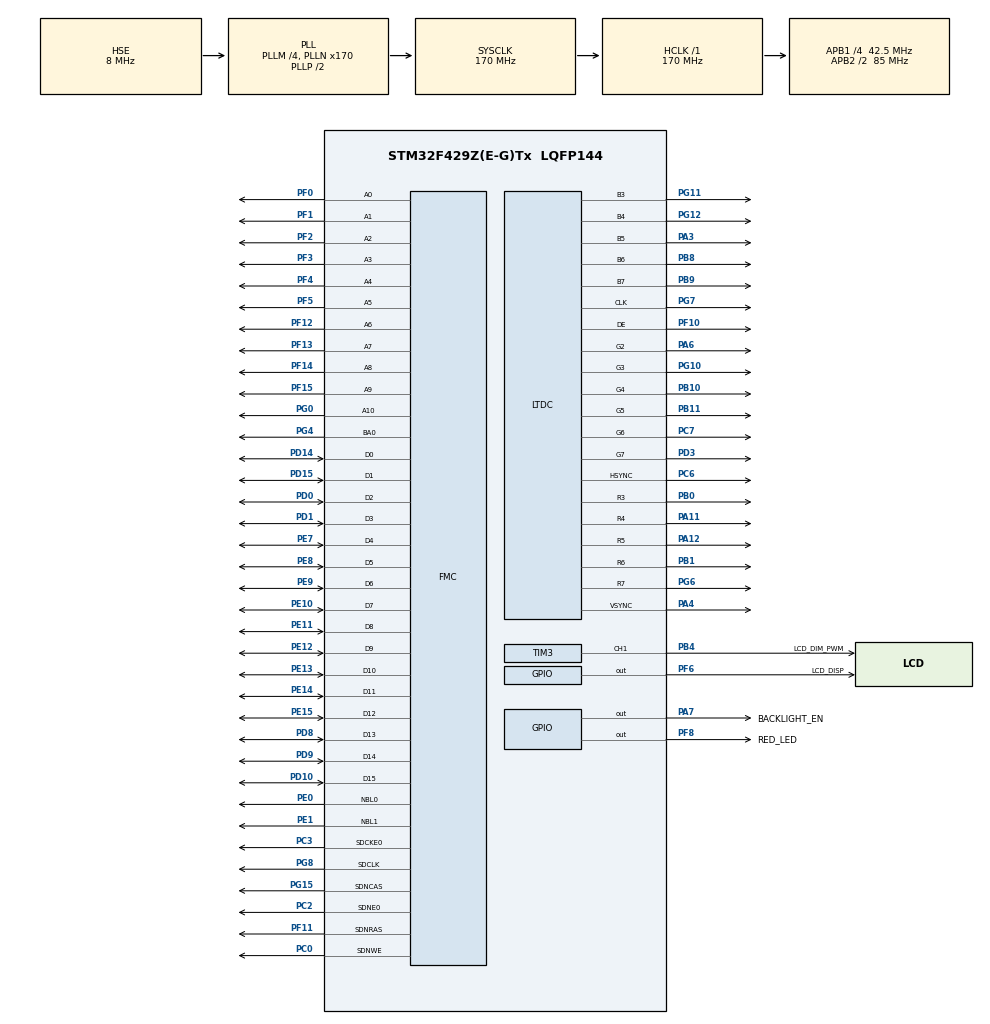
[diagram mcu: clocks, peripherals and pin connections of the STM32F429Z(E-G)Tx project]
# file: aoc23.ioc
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FMC.CASLatency1=FMC_SDRAM_CAS_LATENCY_3
FMC.ExitSelfRefreshDelay1=7
FMC.LoadToActiveDelay1=2
FMC.RCDDelay1=2
FMC.RPDelay1=2
FMC.RPDelay2=2
FMC.ReadBurst1=FMC_SDRAM_RBURST_ENABLE
FMC.ReadBurst2=FMC_SDRAM_RBURST_ENABLE
FMC.ReadPipeDelay1=FMC_SDRAM_RPIPE_DELAY_1
FMC.ReadPipeDelay2=FMC_SDRAM_RPIPE_DELAY_1
FMC.RowCycleDelay1=7
FMC.RowCycleDelay2=7
FMC.SDClockPeriod1=FMC_SDRAM_CLOCK_PERIOD_2
FMC.SDClockPeriod2=FMC_SDRAM_CLOCK_PERIOD_2
FMC.SelfRefreshTime1=4
FMC.WriteRecoveryTime1=3
LTDC.ActiveW=800
LTDC.Alpha_L0=255
LTDC.Alpha_L1=255
LTDC.BlendingFactor1_L1=LTDC_BLENDING_FACTOR1_PAxCA
LTDC.BlendingFactor2_L1=LTDC_BLENDING_FACTOR2_PAxCA
LTDC.FBStartAdress_L0=(uint32_t)BACKGROUND_FRAME_BUF
LTDC.FBStartAdress_L1=(uint32_t)OVERLAY_FRAME_BUF
LTDC.HBP=40
LTDC.HFP=40
LTDC.ImageHeight_L0=DISPLAY_HEIGHT
LTDC.ImageHeight_L1=OVERLAY_HEIGHT
LTDC.ImageWidth_L0=DISPLAY_WIDTH
LTDC.ImageWidth_L1=OVERLAY_WIDTH
LTDC.Layers=1
LTDC.PCPolarity=LTDC_PCPOLARITY_IIPC
LTDC.PixelFormat_L0=LTDC_PIXEL_FORMAT_L8
LTDC.PixelFormat_L1=LTDC_PIXEL_FORMAT_AL44
LTDC.VBP=29
LTDC.VFP=13
LTDC.VSync=3
LTDC.WindowX0_L1=350
LTDC.WindowX1_L0=800
LTDC.WindowX1_L1=750
LTDC.WindowY1_L0=480
LTDC.WindowY1_L1=480
Mcu.Family=STM32F4
Mcu.Name=STM32F429Z(E-G)Tx
Mcu.Package=LQFP144
Mcu.UserConstants=PWM_PERIOD,8499
NVIC.LTDC_IRQn=true\:0\:0\:false\:false\:true\:true\:true\:true
NVIC.PriorityGroup=NVIC_PRIORITYGROUP_4
PA11.Mode=RGB565
PA11.Signal=LTDC_R4
PA12.Mode=RGB565
PA12.Signal=LTDC_R5
PA13.Mode=Trace_Asynchronous_SW
PA13.Signal=SYS_JTMS-SWDIO
PA14.Mode=Trace_Asynchronous_SW
PA14.Signal=SYS_JTCK-SWCLK
PA3.Mode=RGB565
PA3.Signal=LTDC_B5
PA4.Mode=RGB565
PA4.Signal=LTDC_VSYNC
PA6.Mode=RGB565
PA6.Signal=LTDC_G2
PA7.GPIO_Label=BACKLIGHT_EN
PA7.Signal=GPIO_Output
PB0.Mode=RGB565
PB0.Signal=LTDC_R3
PB1.Mode=RGB565
PB1.Signal=LTDC_R6
PB10.Mode=RGB565
PB10.Signal=LTDC_G4
PB11.Mode=RGB565
PB11.Signal=LTDC_G5
PB3.Mode=Trace_Asynchronous_SW
PB3.Signal=SYS_JTDO-SWO
PB4.GPIO_Label=LCD_DIM_PWM
PB4.Signal=S_TIM3_CH1
PB8.Mode=RGB565
PB8.Signal=LTDC_B6
PB9.Mode=RGB565
PB9.Signal=LTDC_B7
PC0.Signal=FMC_SDNWE
PC2.Mode=SdramChipSelect1_1
PC2.Signal=FMC_SDNE0
PC3.Mode=SdramChipSelect1_1
PC3.Signal=FMC_SDCKE0
PC6.Mode=RGB565
PC6.Signal=LTDC_HSYNC
PC7.Mode=RGB565
PC7.Signal=LTDC_G6
PD0.Signal=FMC_D2_DA2
PD1.Signal=FMC_D3_DA3
PD10.Signal=FMC_D15_DA15
PD14.Signal=FMC_D0_DA0
PD15.Signal=FMC_D1_DA1
PD3.Mode=RGB565
PD3.Signal=LTDC_G7
PD8.Signal=FMC_D13_DA13
PD9.Signal=FMC_D14_DA14
PE0.Signal=FMC_NBL0
PE1.Signal=FMC_NBL1
PE10.Signal=FMC_D7_DA7
PE11.Signal=FMC_D8_DA8
PE12.Signal=FMC_D9_DA9
PE13.Signal=FMC_D10_DA10
PE14.Signal=FMC_D11_DA11
PE15.Signal=FMC_D12_DA12
PE7.Signal=FMC_D4_DA4
PE8.Signal=FMC_D5_DA5
PE9.Signal=FMC_D6_DA6
PF0.Signal=FMC_A0
PF1.Signal=FMC_A1
PF10.Mode=RGB565
PF10.Signal=LTDC_DE
PF11.Signal=FMC_SDNRAS
PF12.Signal=FMC_A6
PF13.Signal=FMC_A7
PF14.Signal=FMC_A8
PF15.Signal=FMC_A9
PF2.Signal=FMC_A2
PF3.Signal=FMC_A3
PF4.Signal=FMC_A4
PF5.Signal=FMC_A5
PF6.GPIO_Label=LCD_DISP
PF6.Signal=GPIO_Output
PF8.GPIO_Label=RED_LED
PF8.Signal=GPIO_Output
PG0.Signal=FMC_A10
PG10.Mode=RGB565
PG10.Signal=LTDC_G3
PG11.Mode=RGB565
PG11.Signal=LTDC_B3
PG12.Mode=RGB565
PG12.Signal=LTDC_B4
PG15.Signal=FMC_SDNCAS
PG4.Signal=FMC_A14_BA0
PG6.Mode=RGB565
PG6.Signal=LTDC_R7
PG7.Mode=RGB565
PG7.Signal=LTDC_CLK
PG8.Signal=FMC_SDCLK
PH0/OSC_IN.Mode=HSE-External-Oscillator
PH0/OSC_IN.Signal=RCC_OSC_IN
PH1/OSC_OUT.Mode=HSE-External-Oscillator
PH1/OSC_OUT.Signal=RCC_OSC_OUT
ProjectManager.HeapSize=0x200
ProjectManager.StackSize=0x400
ProjectManager.TargetToolchain=Makefile
RCC.48MHZClocksFreq_Value=85000000
RCC.AHBFreq_Value=170000000
RCC.APB1CLKDivider=RCC_HCLK_DIV4
RCC.APB1Freq_Value=42500000
RCC.APB1TimFreq_Value=85000000
RCC.APB2CLKDivider=RCC_HCLK_DIV2
RCC.APB2Freq_Value=85000000
RCC.APB2TimFreq_Value=170000000
RCC.CortexFreq_Value=170000000
RCC.HCLKFreq_Value=170000000
RCC.HSE_VALUE=8000000
RCC.HSI_VALUE=16000000
RCC.LSE_VALUE=32768
RCC.PLLM=4
RCC.PLLN=170
RCC.PLLSAIN=112
RCC.PLLSAIR=6
RCC.PLLSourceVirtual=RCC_PLLSOURCE_HSE
RCC.SYSCLKFreq_VALUE=170000000
RCC.SYSCLKSource=RCC_SYSCLKSOURCE_PLLCLK
RCC.VCOOutputFreq_Value=340000000
SH.FMC_A0.0=FMC_A0,11b-sda1
SH.FMC_A1.0=FMC_A1,11b-sda1
SH.FMC_A10.0=FMC_A10,11b-sda1
SH.FMC_A14_BA0.0=FMC_BA0,TwoSdramBanks1
SH.FMC_A2.0=FMC_A2,11b-sda1
SH.FMC_A3.0=FMC_A3,11b-sda1
SH.FMC_A4.0=FMC_A4,11b-sda1
SH.FMC_A5.0=FMC_A5,11b-sda1
SH.FMC_A6.0=FMC_A6,11b-sda1
SH.FMC_A7.0=FMC_A7,11b-sda1
SH.FMC_A8.0=FMC_A8,11b-sda1
SH.FMC_A9.0=FMC_A9,11b-sda1
SH.FMC_D0_DA0.0=FMC_D0,sd-16b-d1
SH.FMC_D10_DA10.0=FMC_D10,sd-16b-d1
SH.FMC_D11_DA11.0=FMC_D11,sd-16b-d1
SH.FMC_D12_DA12.0=FMC_D12,sd-16b-d1
SH.FMC_D13_DA13.0=FMC_D13,sd-16b-d1
SH.FMC_D14_DA14.0=FMC_D14,sd-16b-d1
SH.FMC_D15_DA15.0=FMC_D15,sd-16b-d1
SH.FMC_D1_DA1.0=FMC_D1,sd-16b-d1
SH.FMC_D2_DA2.0=FMC_D2,sd-16b-d1
SH.FMC_D3_DA3.0=FMC_D3,sd-16b-d1
SH.FMC_D4_DA4.0=FMC_D4,sd-16b-d1
SH.FMC_D5_DA5.0=FMC_D5,sd-16b-d1
SH.FMC_D6_DA6.0=FMC_D6,sd-16b-d1
SH.FMC_D7_DA7.0=FMC_D7,sd-16b-d1
SH.FMC_D8_DA8.0=FMC_D8,sd-16b-d1
SH.FMC_D9_DA9.0=FMC_D9,sd-16b-d1
SH.FMC_NBL0.0=FMC_NBL0,Sd2ByteEnable1
SH.FMC_NBL1.0=FMC_NBL1,Sd2ByteEnable1
SH.FMC_SDCLK.0=FMC_SDCLK,11b-sda1
SH.FMC_SDNCAS.0=FMC_SDNCAS,11b-sda1
SH.FMC_SDNRAS.0=FMC_SDNRAS,11b-sda1
SH.FMC_SDNWE.0=FMC_SDNWE,11b-sda1
SH.S_TIM3_CH1.0=TIM3_CH1,PWM Generation1 CH1
TIM3.Channel-PWM\ Generation1\ CH1=TIM_CHANNEL_1
TIM3.Period=PWM_PERIOD
VP_TIM3_VS_ClockSourceINT.Mode=Internal
board=custom

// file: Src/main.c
/* USER CODE BEGIN Header */
/**
  ******************************************************************************
  * @file           : main.c
  * @brief          : Main program body
  ******************************************************************************
  * @attention
  *
  * Copyright (c) 2023 STMicroelectronics.
  * All rights reserved.
  *
  * This software is licensed under terms that can be found in the LICENSE file
  * in the root directory of this software component.
  * If no LICENSE file comes with this software, it is provided AS-IS.
  *
  ******************************************************************************
  */
/* USER CODE END Header */
#include "main.h"

/* USER CODE BEGIN Includes */

#include <stdio.h>
#include <string.h>
#include "decompress.h"
#include "gfx.h"
#include "problems/problems.h"

/* USER CODE END Includes */

/* USER CODE BEGIN PM */

#define SDRAM_MODEREG_BURST_LENGTH_1 ((uint16_t)0x0000)
#define SDRAM_MODEREG_BURST_LENGTH_2 ((uint16_t)0x0001)
#define SDRAM_MODEREG_BURST_LENGTH_4 ((uint16_t)0x0002)
#define SDRAM_MODEREG_BURST_LENGTH_8 ((uint16_t)0x0004)
#define SDRAM_MODEREG_BURST_TYPE_SEQUENTIAL ((uint16_t)0x0000)
#define SDRAM_MODEREG_BURST_TYPE_INTERLEAVED ((uint16_t)0x0008)
#define SDRAM_MODEREG_CAS_LATENCY_2 ((uint16_t)0x0020)
#define SDRAM_MODEREG_CAS_LATENCY_3 ((uint16_t)0x0030)
#define SDRAM_MODEREG_OPERATING_MODE_STANDARD ((uint16_t)0x0000)
#define SDRAM_MODEREG_WRITEBURST_MODE_PROGRAMMED ((uint16_t)0x0000)
#define SDRAM_MODEREG_WRITEBURST_MODE_SINGLE ((uint16_t)0x0200)
#define SDRAM_REFRESH_COUNT ((uint32_t)0x0000056a) // 90 MHz

/* USER CODE END PM */

LTDC_HandleTypeDef hltdc;

TIM_HandleTypeDef htim3;

SDRAM_HandleTypeDef hsdram1;

/* USER CODE BEGIN PV */

int vsync_count;

/* USER CODE END PV */

void SystemClock_Config(void);
static void MX_GPIO_Init(void);
static void MX_FMC_Init(void);
static void MX_LTDC_Init(void);
static void MX_TIM3_Init(void);
/* USER CODE BEGIN PFP */

static void Vsync_Callback(LTDC_HandleTypeDef *hltdc);

/* USER CODE END PFP */

int main(void)
{

  /* MCU Configuration--------------------------------------------------------*/

  /* Reset of all peripherals, Initializes the Flash interface and the Systick. */
  HAL_Init();

  /* Configure the system clock */
  SystemClock_Config();

  /* Initialize all configured peripherals */
  MX_GPIO_Init();
  MX_FMC_Init();
  MX_LTDC_Init();
  MX_TIM3_Init();
  /* USER CODE BEGIN 2 */

  // Turn on LCD
  HAL_GPIO_WritePin(LCD_DISP_GPIO_Port, LCD_DISP_Pin, GPIO_PIN_SET);

  memset(OVERLAY_FRAME_BUF, 0, OVERLAY_FRAME_BUF_SIZE);
  decompress("bg.data", BACKGROUND_FRAME_BUF, BACKGROUND_FRAME_BUF_SIZE);
  uint32_t clut[256];
  decompress("bg.clut", clut, sizeof clut);

  HAL_LTDC_ConfigCLUT(&hltdc, (uint32_t *)clut, 256, LTDC_LAYER_1);
  HAL_LTDC_EnableCLUT(&hltdc, LTDC_LAYER_1);

  // Turn on backlight
  #ifdef DEBUG
  const int backlight_percent = 30;
  #else
  const int backlight_percent = 60;
  #endif

  __HAL_TIM_SET_COMPARE(&htim3, TIM_CHANNEL_1, backlight_percent * PWM_PERIOD / 100);
  HAL_TIM_PWM_Start(&htim3, TIM_CHANNEL_1);
  HAL_GPIO_WritePin(BACKLIGHT_EN_GPIO_Port, BACKLIGHT_EN_Pin, GPIO_PIN_SET);

  do_problems();

  /* USER CODE END 2 */

  /* Infinite loop */
  while (1)
  {

  }
}

void SystemClock_Config(void)
{
  RCC_OscInitTypeDef RCC_OscInitStruct = {0};
  RCC_ClkInitTypeDef RCC_ClkInitStruct = {0};

  /** Configure the main internal regulator output voltage
  */
  __HAL_RCC_PWR_CLK_ENABLE();
  __HAL_PWR_VOLTAGESCALING_CONFIG(PWR_REGULATOR_VOLTAGE_SCALE1);

  /** Initializes the RCC Oscillators according to the specified parameters
  * in the RCC_OscInitTypeDef structure.
  */
  RCC_OscInitStruct.OscillatorType = RCC_OSCILLATORTYPE_HSE;
  RCC_OscInitStruct.HSEState = RCC_HSE_ON;
  RCC_OscInitStruct.PLL.PLLState = RCC_PLL_ON;
  RCC_OscInitStruct.PLL.PLLSource = RCC_PLLSOURCE_HSE;
  RCC_OscInitStruct.PLL.PLLM = 4;
  RCC_OscInitStruct.PLL.PLLN = 170;
  RCC_OscInitStruct.PLL.PLLP = RCC_PLLP_DIV2;
  RCC_OscInitStruct.PLL.PLLQ = 4;
  if (HAL_RCC_OscConfig(&RCC_OscInitStruct) != HAL_OK)
  {
    Error_Handler();
  }

  /** Activate the Over-Drive mode
  */
  if (HAL_PWREx_EnableOverDrive() != HAL_OK)
  {
    Error_Handler();
  }

  /** Initializes the CPU, AHB and APB buses clocks
  */
  RCC_ClkInitStruct.ClockType = RCC_CLOCKTYPE_HCLK|RCC_CLOCKTYPE_SYSCLK
                              |RCC_CLOCKTYPE_PCLK1|RCC_CLOCKTYPE_PCLK2;
  RCC_ClkInitStruct.SYSCLKSource = RCC_SYSCLKSOURCE_PLLCLK;
  RCC_ClkInitStruct.AHBCLKDivider = RCC_SYSCLK_DIV1;
  RCC_ClkInitStruct.APB1CLKDivider = RCC_HCLK_DIV4;
  RCC_ClkInitStruct.APB2CLKDivider = RCC_HCLK_DIV2;

  if (HAL_RCC_ClockConfig(&RCC_ClkInitStruct, FLASH_LATENCY_5) != HAL_OK)
  {
    Error_Handler();
  }
}

static void MX_LTDC_Init(void)
{

  LTDC_LayerCfgTypeDef pLayerCfg = {0};
  LTDC_LayerCfgTypeDef pLayerCfg1 = {0};

  hltdc.Instance = LTDC;
  hltdc.Init.HSPolarity = LTDC_HSPOLARITY_AL;
  hltdc.Init.VSPolarity = LTDC_VSPOLARITY_AL;
  hltdc.Init.DEPolarity = LTDC_DEPOLARITY_AL;
  hltdc.Init.PCPolarity = LTDC_PCPOLARITY_IIPC;
  hltdc.Init.HorizontalSync = 7;
  hltdc.Init.VerticalSync = 2;
  hltdc.Init.AccumulatedHBP = 47;
  hltdc.Init.AccumulatedVBP = 31;
  hltdc.Init.AccumulatedActiveW = 847;
  hltdc.Init.AccumulatedActiveH = 511;
  hltdc.Init.TotalWidth = 887;
  hltdc.Init.TotalHeigh = 524;
  hltdc.Init.Backcolor.Blue = 0;
  hltdc.Init.Backcolor.Green = 0;
  hltdc.Init.Backcolor.Red = 0;
  if (HAL_LTDC_Init(&hltdc) != HAL_OK)
  {
    Error_Handler();
  }
  pLayerCfg.WindowX0 = 0;
  pLayerCfg.WindowX1 = 800;
  pLayerCfg.WindowY0 = 0;
  pLayerCfg.WindowY1 = 480;
  pLayerCfg.PixelFormat = LTDC_PIXEL_FORMAT_L8;
  pLayerCfg.Alpha = 255;
  pLayerCfg.Alpha0 = 0;
  pLayerCfg.BlendingFactor1 = LTDC_BLENDING_FACTOR1_CA;
  pLayerCfg.BlendingFactor2 = LTDC_BLENDING_FACTOR2_CA;
  pLayerCfg.FBStartAdress = (uint32_t)BACKGROUND_FRAME_BUF;
  pLayerCfg.ImageWidth = DISPLAY_WIDTH;
  pLayerCfg.ImageHeight = DISPLAY_HEIGHT;
  pLayerCfg.Backcolor.Blue = 0;
  pLayerCfg.Backcolor.Green = 0;
  pLayerCfg.Backcolor.Red = 0;
  if (HAL_LTDC_ConfigLayer(&hltdc, &pLayerCfg, 0) != HAL_OK)
  {
    Error_Handler();
  }
  pLayerCfg1.WindowX0 = 350;
  pLayerCfg1.WindowX1 = 750;
  pLayerCfg1.WindowY0 = 0;
  pLayerCfg1.WindowY1 = 480;
  pLayerCfg1.PixelFormat = LTDC_PIXEL_FORMAT_AL44;
  pLayerCfg1.Alpha = 255;
  pLayerCfg1.Alpha0 = 0;
  pLayerCfg1.BlendingFactor1 = LTDC_BLENDING_FACTOR1_PAxCA;
  pLayerCfg1.BlendingFactor2 = LTDC_BLENDING_FACTOR2_PAxCA;
  pLayerCfg1.FBStartAdress = (uint32_t)OVERLAY_FRAME_BUF;
  pLayerCfg1.ImageWidth = OVERLAY_WIDTH;
  pLayerCfg1.ImageHeight = OVERLAY_HEIGHT;
  pLayerCfg1.Backcolor.Blue = 0;
  pLayerCfg1.Backcolor.Green = 0;
  pLayerCfg1.Backcolor.Red = 0;
  if (HAL_LTDC_ConfigLayer(&hltdc, &pLayerCfg1, 1) != HAL_OK)
  {
    Error_Handler();
  }
  /* USER CODE BEGIN LTDC_Init 2 */

  HAL_LTDC_ProgramLineEvent(&hltdc, 512); // 480 + 29 + 3 for back porch etc
  hltdc.LineEventCallback = Vsync_Callback;

  /* USER CODE END LTDC_Init 2 */

}

static void MX_TIM3_Init(void)
{

  TIM_ClockConfigTypeDef sClockSourceConfig = {0};
  TIM_MasterConfigTypeDef sMasterConfig = {0};
  TIM_OC_InitTypeDef sConfigOC = {0};

  htim3.Instance = TIM3;
  htim3.Init.Prescaler = 0;
  htim3.Init.CounterMode = TIM_COUNTERMODE_UP;
  htim3.Init.Period = PWM_PERIOD;
  htim3.Init.ClockDivision = TIM_CLOCKDIVISION_DIV1;
  htim3.Init.AutoReloadPreload = TIM_AUTORELOAD_PRELOAD_DISABLE;
  if (HAL_TIM_Base_Init(&htim3) != HAL_OK)
  {
    Error_Handler();
  }
  sClockSourceConfig.ClockSource = TIM_CLOCKSOURCE_INTERNAL;
  if (HAL_TIM_ConfigClockSource(&htim3, &sClockSourceConfig) != HAL_OK)
  {
    Error_Handler();
  }
  if (HAL_TIM_PWM_Init(&htim3) != HAL_OK)
  {
    Error_Handler();
  }
  sMasterConfig.MasterOutputTrigger = TIM_TRGO_RESET;
  sMasterConfig.MasterSlaveMode = TIM_MASTERSLAVEMODE_DISABLE;
  if (HAL_TIMEx_MasterConfigSynchronization(&htim3, &sMasterConfig) != HAL_OK)
  {
    Error_Handler();
  }
  sConfigOC.OCMode = TIM_OCMODE_PWM1;
  sConfigOC.Pulse = 0;
  sConfigOC.OCPolarity = TIM_OCPOLARITY_HIGH;
  sConfigOC.OCFastMode = TIM_OCFAST_DISABLE;
  if (HAL_TIM_PWM_ConfigChannel(&htim3, &sConfigOC, TIM_CHANNEL_1) != HAL_OK)
  {
    Error_Handler();
  }
  HAL_TIM_MspPostInit(&htim3);

}

/* FMC initialization function */
static void MX_FMC_Init(void)
{

  FMC_SDRAM_TimingTypeDef SdramTiming = {0};

  /** Perform the SDRAM1 memory initialization sequence
  */
  hsdram1.Instance = FMC_SDRAM_DEVICE;
  /* hsdram1.Init */
  hsdram1.Init.SDBank = FMC_SDRAM_BANK1;
  hsdram1.Init.ColumnBitsNumber = FMC_SDRAM_COLUMN_BITS_NUM_8;
  hsdram1.Init.RowBitsNumber = FMC_SDRAM_ROW_BITS_NUM_11;
  hsdram1.Init.MemoryDataWidth = FMC_SDRAM_MEM_BUS_WIDTH_16;
  hsdram1.Init.InternalBankNumber = FMC_SDRAM_INTERN_BANKS_NUM_2;
  hsdram1.Init.CASLatency = FMC_SDRAM_CAS_LATENCY_3;
  hsdram1.Init.WriteProtection = FMC_SDRAM_WRITE_PROTECTION_DISABLE;
  hsdram1.Init.SDClockPeriod = FMC_SDRAM_CLOCK_PERIOD_2;
  hsdram1.Init.ReadBurst = FMC_SDRAM_RBURST_ENABLE;
  hsdram1.Init.ReadPipeDelay = FMC_SDRAM_RPIPE_DELAY_1;
  /* SdramTiming */
  SdramTiming.LoadToActiveDelay = 2;
  SdramTiming.ExitSelfRefreshDelay = 7;
  SdramTiming.SelfRefreshTime = 4;
  SdramTiming.RowCycleDelay = 7;
  SdramTiming.WriteRecoveryTime = 3;
  SdramTiming.RPDelay = 2;
  SdramTiming.RCDDelay = 2;

  if (HAL_SDRAM_Init(&hsdram1, &SdramTiming) != HAL_OK)
  {
    Error_Handler( );
  }

  /* USER CODE BEGIN FMC_Init 2 */

  FMC_SDRAM_CommandTypeDef cmd_clk_enable = {
    .CommandMode = FMC_SDRAM_CMD_CLK_ENABLE,
    .CommandTarget = FMC_SDRAM_CMD_TARGET_BANK1,
    .AutoRefreshNumber = 1,
    .ModeRegisterDefinition = 0
  };
  FMC_SDRAM_CommandTypeDef cmd_precharge_all = {
    .CommandMode = FMC_SDRAM_CMD_PALL,
    .CommandTarget = FMC_SDRAM_CMD_TARGET_BANK1,
    .AutoRefreshNumber = 1,
    .ModeRegisterDefinition = 0
  };
  FMC_SDRAM_CommandTypeDef cmd_auto_refresh = {
    .CommandMode = FMC_SDRAM_CMD_AUTOREFRESH_MODE,
    .CommandTarget = FMC_SDRAM_CMD_TARGET_BANK1,
    .AutoRefreshNumber = 4,
    .ModeRegisterDefinition = 0
  };
  FMC_SDRAM_CommandTypeDef cmd_mode = {
    .CommandMode = FMC_SDRAM_CMD_LOAD_MODE,
    .CommandTarget = FMC_SDRAM_CMD_TARGET_BANK1,
    .AutoRefreshNumber = 1,
    .ModeRegisterDefinition = SDRAM_MODEREG_BURST_LENGTH_2 |
                              SDRAM_MODEREG_BURST_TYPE_SEQUENTIAL |
                              SDRAM_MODEREG_CAS_LATENCY_3 |
                              SDRAM_MODEREG_OPERATING_MODE_STANDARD |
                              SDRAM_MODEREG_WRITEBURST_MODE_SINGLE
  };

  HAL_SDRAM_SendCommand(&hsdram1, &cmd_clk_enable, 0x1000);
  HAL_Delay(1);
  HAL_SDRAM_SendCommand(&hsdram1, &cmd_precharge_all, 0x1000);
  HAL_SDRAM_SendCommand(&hsdram1, &cmd_auto_refresh, 0x1000);
  HAL_SDRAM_SendCommand(&hsdram1, &cmd_mode, 0x1000);
  HAL_SDRAM_ProgramRefreshRate(&hsdram1, SDRAM_REFRESH_COUNT);

  /* USER CODE END FMC_Init 2 */
}

static void MX_GPIO_Init(void)
{
  GPIO_InitTypeDef GPIO_InitStruct = {0};

  /* GPIO Ports Clock Enable */
  __HAL_RCC_GPIOF_CLK_ENABLE();
  __HAL_RCC_GPIOH_CLK_ENABLE();
  __HAL_RCC_GPIOC_CLK_ENABLE();
  __HAL_RCC_GPIOA_CLK_ENABLE();
  __HAL_RCC_GPIOB_CLK_ENABLE();
  __HAL_RCC_GPIOG_CLK_ENABLE();
  __HAL_RCC_GPIOE_CLK_ENABLE();
  __HAL_RCC_GPIOD_CLK_ENABLE();

  /*Configure GPIO pin Output Level */
  HAL_GPIO_WritePin(GPIOF, LCD_DISP_Pin|RED_LED_Pin, GPIO_PIN_RESET);

  /*Configure GPIO pin Output Level */
  HAL_GPIO_WritePin(BACKLIGHT_EN_GPIO_Port, BACKLIGHT_EN_Pin, GPIO_PIN_RESET);

  /*Configure GPIO pins : LCD_DISP_Pin RED_LED_Pin */
  GPIO_InitStruct.Pin = LCD_DISP_Pin|RED_LED_Pin;
  GPIO_InitStruct.Mode = GPIO_MODE_OUTPUT_PP;
  GPIO_InitStruct.Pull = GPIO_NOPULL;
  GPIO_InitStruct.Speed = GPIO_SPEED_FREQ_LOW;
  HAL_GPIO_Init(GPIOF, &GPIO_InitStruct);

  /*Configure GPIO pin : BACKLIGHT_EN_Pin */
  GPIO_InitStruct.Pin = BACKLIGHT_EN_Pin;
  GPIO_InitStruct.Mode = GPIO_MODE_OUTPUT_PP;
  GPIO_InitStruct.Pull = GPIO_NOPULL;
  GPIO_InitStruct.Speed = GPIO_SPEED_FREQ_LOW;
  HAL_GPIO_Init(BACKLIGHT_EN_GPIO_Port, &GPIO_InitStruct);

}

/* USER CODE BEGIN 4 */

int top = 0; // First row of overlay is at this row of the screen.

static void Vsync_Callback(LTDC_HandleTypeDef *hltdc)
{
  ++vsync_count;

  top -= 2;
  if (top + OVERLAY_HEIGHT <= 0)
    top = DISPLAY_HEIGHT - 1;

  int offset = 0;
  int y0 = 0;
  int y1 = DISPLAY_HEIGHT;
  if (top > 0)
  {
    y0 = top;
  }
  else
  {
    offset = -top * OVERLAY_WIDTH;
    if (top + OVERLAY_HEIGHT < DISPLAY_HEIGHT)
    {
      y1 = top + OVERLAY_HEIGHT;
    }
  }

  hltdc->LayerCfg[1].WindowY0 = y0;
  hltdc->LayerCfg[1].WindowY1 = y1;
  hltdc->LayerCfg[1].FBStartAdress = (uint32_t)OVERLAY_FRAME_BUF + offset;
  HAL_LTDC_ConfigLayer(hltdc, &hltdc->LayerCfg[1], LTDC_LAYER_2);

  __HAL_LTDC_ENABLE_IT(hltdc, LTDC_IT_LI);
}

/* USER CODE END 4 */

void Error_Handler(void)
{
  __disable_irq();
  while (1)
  {
  }
}
